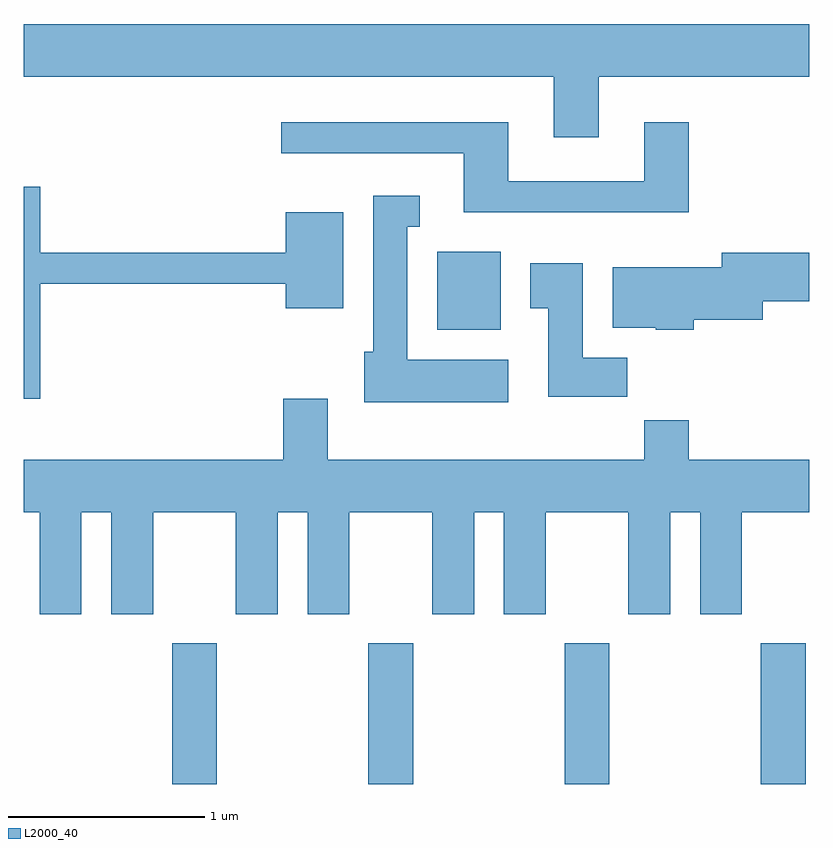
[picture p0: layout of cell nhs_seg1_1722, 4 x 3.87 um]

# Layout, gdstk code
import gdstk
lib = gdstk.Library(unit=1e-6, precision=1e-09)
def R(c, l, rs):  # rectangles x0, y0, x1, y1
    for r in rs: c.add(gdstk.rectangle(r[:2], r[2:], *l))
def A(c, l, x, y, w, h, nx, ny, dx, dy):  # array of equal rectangles
    R(c, l, [(x+i*dx, y+j*dy, x+i*dx+w, y+j*dy+h) for i in range(nx) for j in range(ny)])
def P(c, l, *ps):  # polygons
    for p in ps: c.add(gdstk.Polygon(p, *l))
L2000_40 = (2000, 40)

nhs_seg1_1722 = lib.new_cell('nhs_seg1_1722')
A(nhs_seg1_1722, L2000_40, 238.366, 933.712, 0.228, 0.717, 4, 1, 1, 0)
R(nhs_seg1_1722, L2000_40, [(239.716,936.026,240.039,936.424)])
P(nhs_seg1_1722, L2000_40, [(240.539,937.316),(241.611,937.316),(241.611,937.584),(237.611,937.584),(237.611,937.316),(240.311,937.316),(240.311,937.006),(240.539,937.006)],
  [(240.999,937.084),(240.771,937.084),(240.771,936.784),(240.079,936.784),(240.079,937.084),(238.923,937.084),(238.923,936.926),(239.851,936.926),(239.851,936.626),(240.999,936.626)],
  [(237.694,936.261),(238.946,936.261),(238.946,936.136),(239.239,936.136),(239.239,936.624),(238.946,936.624),(238.946,936.419),(237.694,936.419),(237.694,936.754),(237.611,936.754),(237.611,935.676),(237.694,935.676)],
  [(240.079,935.874),(239.564,935.874),(239.564,936.551),(239.628,936.551),(239.628,936.709),(239.391,936.709),(239.391,935.914),(239.346,935.914),(239.346,935.656),(240.079,935.656)],
  [(241.024,936.076),(241.374,936.076),(241.374,936.171),(241.611,936.171),(241.611,936.419),(241.166,936.419),(241.166,936.344),(240.611,936.344),(240.611,936.036),(240.83,936.036),(240.83,936.026),(241.024,936.026)],
  [(240.684,935.884),(240.459,935.884),(240.459,936.364),(240.191,936.364),(240.191,936.136),(240.281,936.136),(240.281,935.686),(240.684,935.686)],
  [(239.159,935.674),(238.931,935.674),(238.931,935.364),(237.611,935.364),(237.611,935.096),(237.691,935.096),(237.691,934.576),(237.904,934.576),(237.904,935.096),(238.056,935.096),(238.056,934.576),(238.269,934.576),(238.269,935.096),(238.691,935.096),(238.691,934.576),(238.904,934.576),(238.904,935.096),(239.056,935.096),(239.056,934.576),(239.269,934.576),(239.269,935.096),(239.691,935.096),(239.691,934.576),(239.904,934.576),(239.904,935.096),(240.056,935.096),(240.056,934.576),(240.269,934.576),(240.269,935.096),(240.691,935.096),(240.691,934.576),(240.904,934.576),(240.904,935.096),(241.056,935.096),(241.056,934.576),(241.269,934.576),(241.269,935.096),(241.611,935.096),(241.611,935.364),(240.999,935.364),(240.999,935.564),(240.771,935.564),(240.771,935.364),(239.159,935.364)])

lib.write_gds('nhs_seg1_1722.gds')
